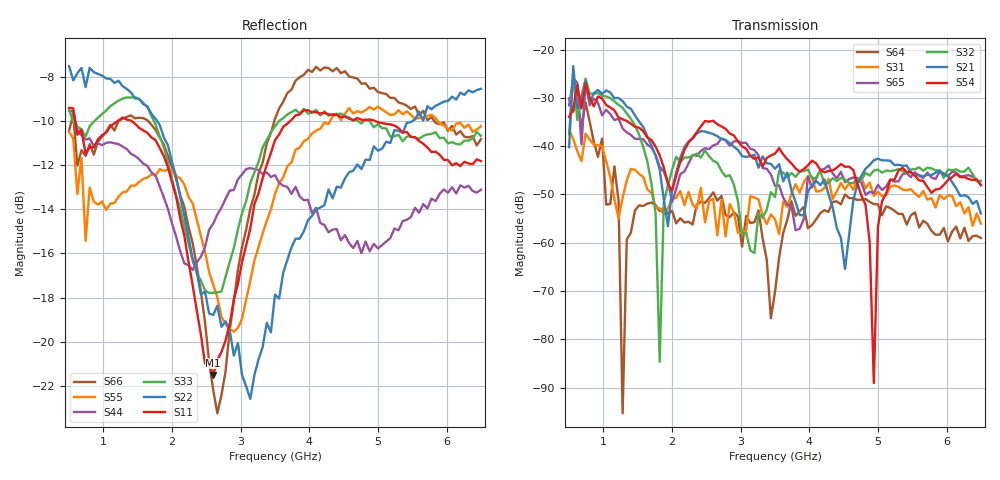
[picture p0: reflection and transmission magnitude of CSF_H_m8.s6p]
!Keysight Technologies,M9804A,MY58100912,A.14.10.03
!Date: Thursday, April 27, 2023 10:28:33
!Correction: S11(C  6-Port  )
!S12(C  6-Port  )
!S13(C  6-Port  )
!S14(C  6-Port  )
!S15(C  6-Port  )
!S16(C  6-Port  )
!S21(C  6-Port  )
!S22(C  6-Port  )
!S23(C  6-Port  )
!S24(C  6-Port  )
!S25(C  6-Port  )
!S26(C  6-Port  )
!S31(C  6-Port  )
!S32(C  6-Port  )
!S33(C  6-Port  )
!S34(C  6-Port  )
!S35(C  6-Port  )
!S36(C  6-Port  )
!S41(C  6-Port  )
!S42(C  6-Port  )
!S43(C  6-Port  )
!S44(C  6-Port  )
!S45(C  6-Port  )
!S46(C  6-Port  )
!S51(C  6-Port  )
!S52(C  6-Port  )
!S53(C  6-Port  )
!S54(C  6-Port  )
!S55(C  6-Port  )
!S56(C  6-Port  )
!S61(C  6-Port  )
!S62(C  6-Port  )
!S63(C  6-Port  )
!S64(C  6-Port  )
!S65(C  6-Port  )
!S66(C  6-Port  )
!S6P File: Measurement: :
# Hz S  RI  R 50
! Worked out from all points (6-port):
!   101 points, 500 MHz to 6.5 GHz, reference 50 ohm
!   strongest paths, dB at 500 MHz, 2 GHz, 3.5 GHz, 5 GHz, 6.5 GHz:
!     S54: -34.0, -49.2, -41.5, -56.8, -48.0
!     S21: -40.2, -49.1, -44.7, -42.6, -54.0
!     S32: -37.5, -44.9, -50.6, -44.8, -47.2
!     S65: -31.6, -51.6, -48.2, -48.0, -48.1
!     S31: -36.6, -50.9, -55.1, -49.4, -56.0
!     S64: -30.1, -53.4, -70.2, -52.0, -59.0
!   lowest |S11| = -21.5 dB at 2.6 GHz (marker M1), VSWR 1.18, Z = 42.5 + j2.14 ohm
!   |S11| at or under -10 dB: 589.8 MHz to 1.2 GHz (609.7 MHz wide, 68.1 % of centre); 1.417 GHz to 3.716 GHz (2.299 GHz wide, 89.6 % of centre); 4.973 GHz to end of sweep
